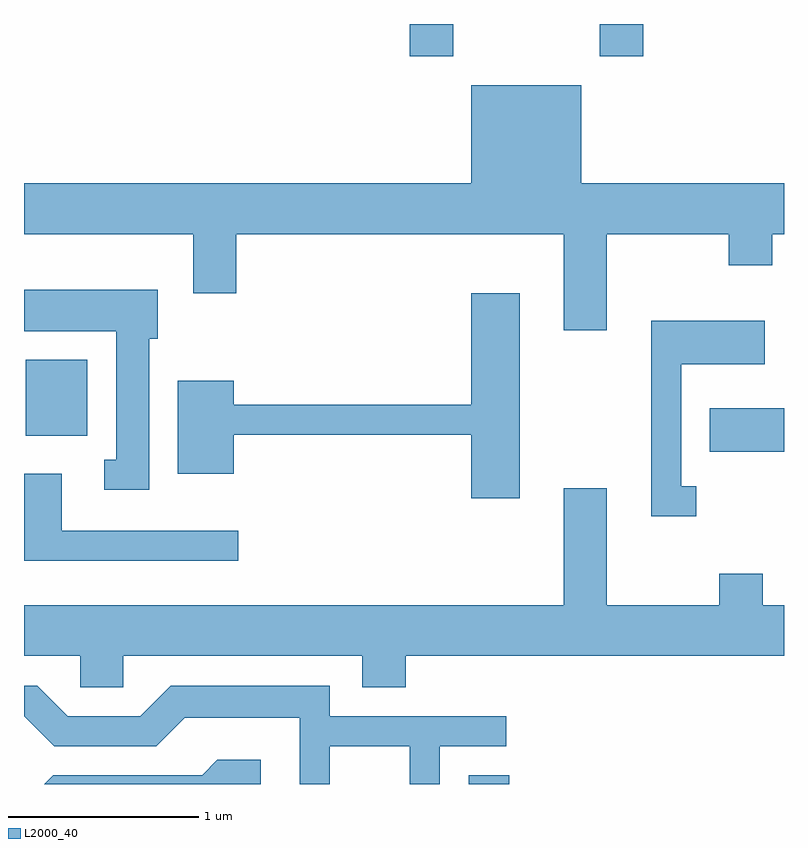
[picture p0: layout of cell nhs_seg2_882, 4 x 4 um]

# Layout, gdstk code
import gdstk
lib = gdstk.Library(unit=1e-6, precision=1e-09)
def R(c, l, rs):  # rectangles x0, y0, x1, y1
    for r in rs: c.add(gdstk.rectangle(r[:2], r[2:], *l))
def P(c, l, *ps):  # polygons
    for p in ps: c.add(gdstk.Polygon(p, *l))
L2000_40 = (2000, 40)

nhs_seg2_882 = lib.new_cell('nhs_seg2_882')
R(nhs_seg2_882, L2000_40, [(211.951,1109.802,212.164,1109.849), (213.221,1111.551,213.611,1111.779), (209.621,1111.636,209.944,1112.034), (211.641,1113.631,211.869,1113.802), (212.641,1113.631,212.869,1113.802)])
P(nhs_seg2_882, L2000_40, [(212.679,1112.696),(213.321,1112.696),(213.321,1112.531),(213.549,1112.531),(213.549,1112.696),(213.611,1112.696),(213.611,1112.964),(212.544,1112.964),(212.544,1113.479),(211.966,1113.479),(211.966,1112.964),(209.611,1112.964),(209.611,1112.696),(210.501,1112.696),(210.501,1112.386),(210.729,1112.386),(210.729,1112.696),(212.451,1112.696),(212.451,1112.191),(212.679,1112.191)],
  [(210.269,1112.146),(210.314,1112.146),(210.314,1112.404),(209.611,1112.404),(209.611,1112.186),(210.096,1112.186),(210.096,1111.509),(210.033,1111.509),(210.033,1111.351),(210.269,1111.351)],
  [(212.219,1112.384),(211.966,1112.384),(211.966,1111.799),(210.714,1111.799),(210.714,1111.924),(210.421,1111.924),(210.421,1111.436),(210.714,1111.436),(210.714,1111.641),(211.966,1111.641),(211.966,1111.306),(212.219,1111.306)],
  [(213.148,1111.369),(213.069,1111.369),(213.069,1112.011),(213.509,1112.011),(213.509,1112.239),(212.911,1112.239),(212.911,1111.211),(213.148,1111.211)],
  [(210.738,1111.134),(209.809,1111.134),(209.809,1111.434),(209.611,1111.434),(209.611,1110.976),(210.738,1110.976)],
  [(210.134,1110.476),(211.391,1110.476),(211.391,1110.311),(211.619,1110.311),(211.619,1110.476),(213.611,1110.476),(213.611,1110.744),(213.499,1110.744),(213.499,1110.909),(213.271,1110.909),(213.271,1110.744),(212.679,1110.744),(212.679,1111.359),(212.451,1111.359),(212.451,1110.744),(209.611,1110.744),(209.611,1110.476),(209.906,1110.476),(209.906,1110.311),(210.134,1110.311)],
  [(211.219,1110.001),(211.641,1110.001),(211.641,1109.802),(211.799,1109.802),(211.799,1110.001),(212.148,1110.001),(212.148,1110.159),(211.219,1110.159),(211.219,1110.319),(210.384,1110.319),(210.224,1110.159),(209.842,1110.159),(209.682,1110.319),(209.611,1110.319),(209.611,1110.159),(209.769,1110.001),(210.307,1110.001),(210.457,1110.151),(211.061,1110.151),(211.061,1109.802),(211.219,1109.802)],
  [(210.858,1109.929),(210.629,1109.929),(210.549,1109.849),(209.764,1109.849),(209.717,1109.802),(210.858,1109.802)])

lib.write_gds('nhs_seg2_882.gds')
